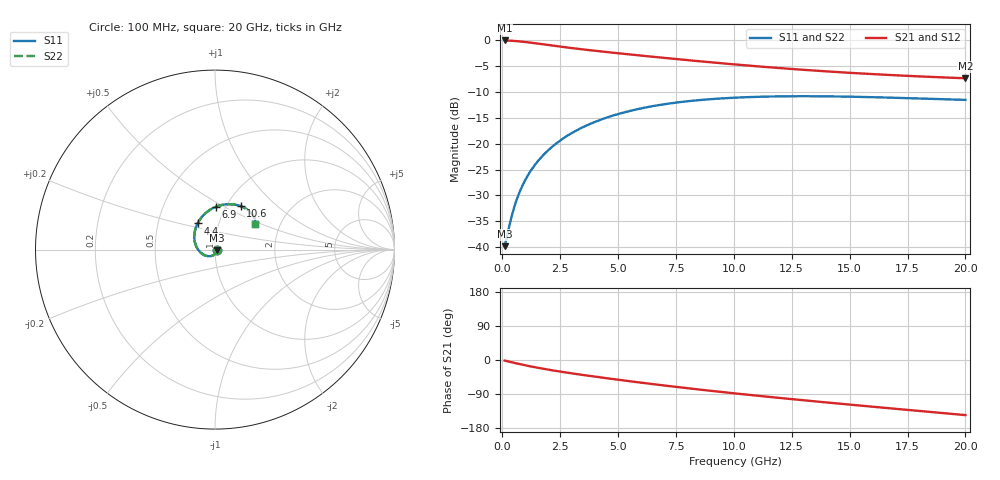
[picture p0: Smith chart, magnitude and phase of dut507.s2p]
! Touchstone file exported from HFSS 2024.1.0
!  File:  C:/UserFiles/LocalFiles/RDL_TSV_Batchsim/temp_RDL_TSV_507_1779738770.aedt
!  Generated:  04:08:34 AM May 26, 2026
!  Design:  RDL_TSV
!  Project:  temp_RDL_TSV_507_1779738770
!  Setup:  Setup1
!  Solution:  Sweep
! Variables:
!  dtsv = 10.61um
!  hbump = 3um
!  htsv = 86.64um
!  ldown = 337.58um
!  lrdl = 194.39um
!  p = 40
!  p1 = 55.8um
!  rhole = 10um
!  subl = 1790.3um
!  t = 450um
!  tdown = 3.13um
!  trdl = 2.23um
!  viad = 10um
!  wdown = 29.69um
!  wrdl = 29.12um
!  xbump = 18um
# GHz S MA R 50.000000
! Terminal data exported
! Port[1] = TM1_1_T1
! Port[2] = TM1_4_T1
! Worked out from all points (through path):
!   200 points, 100 MHz to 20 GHz, reference 50 ohm
!   highest |S21| = -0.09 dB at 100 MHz (marker M1); lowest = -7.4 dB at 20 GHz (marker M2)
!   group delay of S21, straight-line fit = 18.9 ps
!   lowest |S11| = -39.8 dB at 100 MHz (marker M3), VSWR 1.02, Z = 50.9 - j0.485 ohm
!   |S11| at or under -10 dB: start of sweep to end of sweep
!   |S22| runs from -39.8 to -10.9 dB; largest |S21 - S12| = 1.7e-14
!   S11 on the Smith chart (normalised r, x): 100 MHz: 1.02, -0.01; 4.4 GHz: 0.79, +0.24; 6.9 GHz: 0.90, +0.45; 10.6 GHz: 1.16, +0.61; 20 GHz: 1.49, +0.46
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0.1  0.01025 -27.7  0.9901 -1.5  0.9901 -1.5  0.01026 -27.7
! Gamma 0 0 0 0
! Port Impedance 50 0 50 0
0.4  0.01971 -78.6  0.9834 -5.9  0.9834 -5.9  0.01972 -78.6
0.6  0.02788 -97.9  0.9761 -8.7  0.9761 -8.7  0.02788 -97.9
0.7  0.0321 -105.8  0.9717 -10.1  0.9717 -10.1  0.03211 -105.8
0.9  0.04064 -119.6  0.9618 -12.7  0.9618 -12.7  0.04065 -119.6
1.2  0.0535 -137.1  0.9446 -16.6  0.9446 -16.6  0.05349 -137.0
1.4  0.06201 -147.3  0.9322 -19.0  0.9322 -19.0  0.06201 -147.3
1.7  0.07465 -161.1  0.9131 -22.4  0.9131 -22.4  0.07464 -161.0
2.2  0.09523 179.4  0.8816 -27.7  0.8816 -27.7  0.0952 179.4
2.8  0.1189 160.2  0.8468 -33.4  0.8468 -33.4  0.1189 160.2
3.5  0.1448 142.1  0.8107 -39.7  0.8107 -39.7  0.1448 142.2
4.4  0.1751 123.7  0.7699 -47.2  0.7699 -47.2  0.1749 123.7
5.5  0.2067 106.2  0.7258 -56.0  0.7258 -56.0  0.2065 106.2
6.8  0.2363 90.1  0.6787 -65.9  0.6787 -65.9  0.2361 90.1
6.9  0.2382 89.1  0.6753 -66.6  0.6753 -66.6  0.238 89.1
8.5  0.2631 74.1  0.6242 -77.9  0.6242 -77.9  0.2629 74.1
10.1  0.2781 62.6  0.5797 -88.5  0.5797 -88.5  0.2779 62.6
10.6  0.2811 59.6  0.5672 -91.7  0.5672 -91.7  0.2809 59.6
12  0.286 52.2  0.5356 -100.3  0.5356 -100.3  0.2858 52.2
13.4  0.2868 46.2  0.5085 -108.6  0.5085 -108.6  0.2866 46.2
16.7  0.2782 36.8  0.46 -127.2  0.46 -127.2  0.278 36.8
20  0.2645 32.8  0.4275 -145.4  0.4275 -145.4  0.2643 32.8
